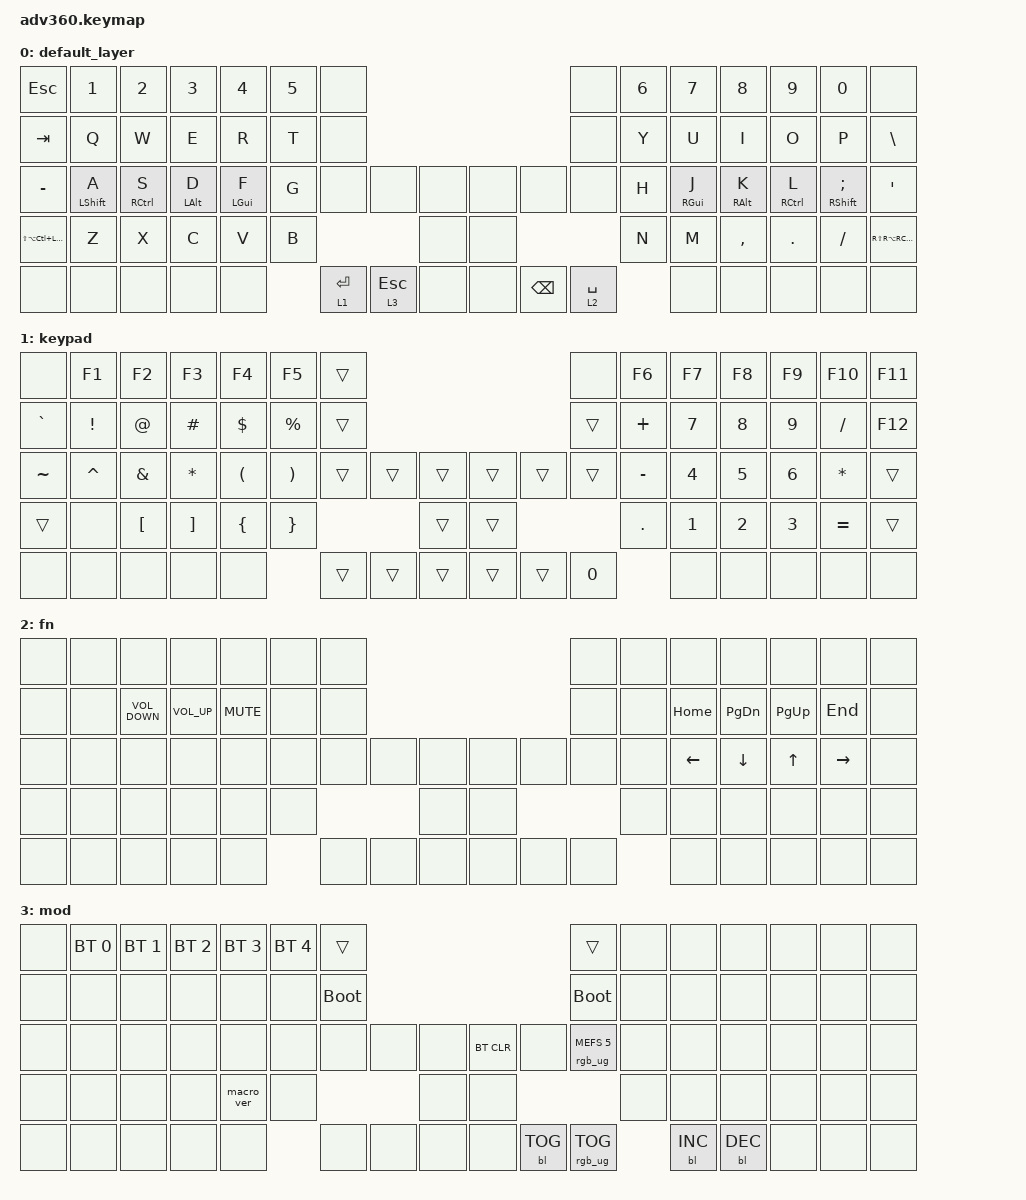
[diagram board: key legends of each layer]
#include <behaviors.dtsi>
#include <dt-bindings/zmk/backlight.h>
#include <dt-bindings/zmk/bt.h>
#include <dt-bindings/zmk/keys.h>
#include <dt-bindings/zmk/rgb.h>

/ {
    behaviors {
        #include "macros.dtsi"
      #include "version.dtsi"
      #ifndef VERSION_MACRO

        macro_ver: macro_ver {
            compatible = "zmk,behavior-macro";
            label = "macro_version";
            #binding-cells = <0>;
            bindings = <&kp RET>;
        };

        #endif

        hm: homerow_mods {
            compatible = "zmk,behavior-hold-tap";
            label = "HOMEROW_MODS";
            #binding-cells = <2>;
            tapping-term-ms = <200>;
            quick_tap_ms = <175>;
            flavor = "tap-preferred";
            bindings = <&kp>, <&kp>;
        };
    };

    macros {
    };

    keymap {
        compatible = "zmk,keymap";

        default_layer {
            bindings = <
&kp ESCAPE                &kp N1            &kp N2       &kp N3          &kp N4          &kp N5  &none                                                     &none        &kp N6  &kp N7           &kp N8           &kp N9       &kp N0                &none
&kp TAB                   &kp Q             &kp W        &kp E           &kp R           &kp T   &none                                                     &none        &kp Y   &kp U            &kp I            &kp O        &kp P                 &kp BSLH
&kp MINUS                 &hm LEFT_SHIFT A  &hm RCTRL S  &hm LEFT_ALT D  &hm LEFT_GUI F  &kp G   &none      &none         &none      &none  &none          &none        &kp H   &hm RIGHT_GUI J  &hm RIGHT_ALT K  &hm RCTRL L  &hm RIGHT_SHIFT SEMI  &kp APOS
&kp LS(LA(LC(LEFT_GUI)))  &kp Z             &kp X        &kp C           &kp V           &kp B                            &none      &none                              &kp N   &kp M            &kp COMMA        &kp DOT      &kp FSLH              &kp RS(RA(RC(RIGHT_GUI)))
&none                     &none             &none        &none           &none                   &lt 1 RET  &lt 3 ESCAPE  &none      &none  &kp BACKSPACE  &lt 2 SPACE          &none            &none            &none        &none                 &none
            >;
        };

        keypad {
            bindings = <
&none      &kp F1     &kp F2            &kp F3             &kp F4                &kp F5                 &trans                                      &none   &kp F6     &kp F7        &kp F8        &kp F9        &kp F10       &kp F11
&kp GRAVE  &kp EXCL   &kp AT            &kp POUND          &kp DOLLAR            &kp PERCENT            &trans                                      &trans  &kp PLUS   &kp N7        &kp N8        &kp N9        &kp SLASH     &kp F12
&kp TILDE  &kp CARET  &kp AMPS          &kp ASTERISK       &kp LEFT_PARENTHESIS  &kp RIGHT_PARENTHESIS  &trans  &trans  &trans      &trans  &trans  &trans  &kp MINUS  &kp NUMBER_4  &kp N5        &kp NUMBER_6  &kp ASTERISK  &trans
&trans     &none      &kp LEFT_BRACKET  &kp RIGHT_BRACKET  &kp LEFT_BRACE        &kp RIGHT_BRACE                        &trans      &trans                  &kp DOT    &kp NUMBER_1  &kp NUMBER_2  &kp NUMBER_3  &kp EQUAL     &trans
&none      &none      &none             &none              &none                                        &trans  &trans  &trans      &trans  &trans  &kp N0             &none         &none         &none         &none         &none
            >;
        };

        fn {
            bindings = <
&none  &none  &none              &none            &none       &none  &none                                  &none  &none  &none     &none          &none        &none      &none
&none  &none  &kp C_VOLUME_DOWN  &kp C_VOLUME_UP  &kp K_MUTE  &none  &none                                  &none  &none  &kp HOME  &kp PAGE_DOWN  &kp PAGE_UP  &kp END    &none
&none  &none  &none              &none            &none       &none  &none  &none  &none      &none  &none  &none  &none  &kp LEFT  &kp DOWN       &kp UP       &kp RIGHT  &none
&none  &none  &none              &none            &none       &none                &none      &none                &none  &none     &none          &none        &none      &none
&none  &none  &none              &none            &none              &none  &none  &none      &none  &none  &none         &none     &none          &none        &none      &none
            >;
        };

        mod {
            bindings = <
&none  &bt BT_SEL 0  &bt BT_SEL 1  &bt BT_SEL 2  &bt BT_SEL 3  &bt BT_SEL 4  &trans                                                 &trans                  &none  &none       &none       &none  &none  &none
&none  &none         &none         &none         &none         &none         &bootloader                                            &bootloader             &none  &none       &none       &none  &none  &none
&none  &none         &none         &none         &none         &none         &none        &none  &none      &bt BT_CLR  &none       &rgb_ug RGB_MEFS_CMD 5  &none  &none       &none       &none  &none  &none
&none  &none         &none         &none         &macro_ver    &none                             &none      &none                                           &none  &none       &none       &none  &none  &none
&none  &none         &none         &none         &none                       &none        &none  &none      &none       &bl BL_TOG  &rgb_ug RGB_TOG                &bl BL_INC  &bl BL_DEC  &none  &none  &none
            >;
        };
    };
};
